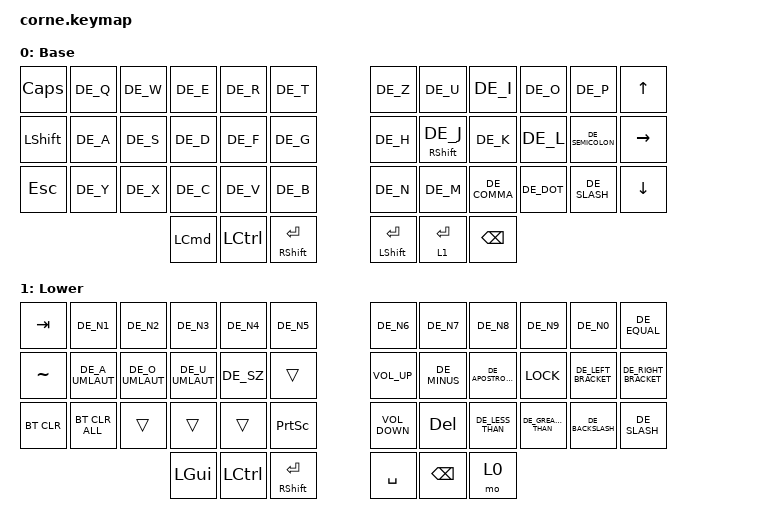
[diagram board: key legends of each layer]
/*
 * Copyright (c) 2020 The ZMK Contributors
 *
 * SPDX-License-Identifier: MIT
 */

#include "keys_de.h"
#include <behaviors.dtsi>
#include <dt-bindings/zmk/bt.h>
#include <dt-bindings/zmk/keys.h>

/ {
    keymap {
        compatible = "zmk,keymap";

        default_layer {
            // -----------------------------------------------------------------------------------------
            // |  TAB |  Q  |  W  |  E  |  R  |  T  |   |  Z  |  U   |  I  |  O  |  P  | BKSP |
            // | CTRL |  A  |  S  |  D  |  F  |  G  |   |  H  |  J   |  K  |  L  |  ;  |  '   |
            // | SHFT |  Y  |  X  |  C  |  V  |  B  |   |  N  |  M   |  ,  |  .  |  /  | ESC  |
            //                    | GUI | LWR | SPC |   | ENT | RSE  | ALT |

            display-name = "Base";
            bindings = <
&kp CLCK        &kp DE_Q  &kp DE_W  &kp DE_E          &kp DE_R   &kp DE_T                 &kp DE_Z              &kp DE_U              &kp DE_I       &kp DE_O    &kp DE_P          &kp UP_ARROW
&kp LEFT_SHIFT  &kp DE_A  &kp DE_S  &kp DE_D          &kp DE_F   &kp DE_G                 &kp DE_H              &mt RIGHT_SHIFT DE_J  &kp DE_K       &kp DE_L    &kp DE_SEMICOLON  &kp RIGHT_ARROW
&kp ESC         &kp DE_Y  &kp DE_X  &kp DE_C          &kp DE_V   &kp DE_B                 &kp DE_N              &kp DE_M              &kp DE_COMMA   &kp DE_DOT  &kp DE_SLASH      &kp DOWN_ARROW
                                    &kp LEFT_COMMAND  &kp LCTRL  &mt RIGHT_SHIFT ENTER    &mt LEFT_SHIFT ENTER  &lt 1 ENTER           &kp BACKSPACE
            >;
        };

        Sym_Nav_Layer {
            // -----------------------------------------------------------------------------------------
            // |  TAB |  1  |  2  |  3  |  4  |  5  |   |  6  |  7  |  8  |  9  |  0  | BKSP |
            // | BTCLR| Ä   |  Ö  |  Ü  |  ß  |     |   | Vol+|  -  |  '  | KLock|  [  |  ]  |
            // | SHFT |     |     |     |     | Prt |   | Vol-| Del |  <  |  >  |  \  |  /  |
            //                    | GUI |     | ENT |   | SPC | BSPC| MO0 |

            display-name = "Lower";
            bindings = <
&kp TAB     &kp DE_N1        &kp DE_N2        &kp DE_N3        &kp DE_N4  &kp DE_N5                &kp DE_N6          &kp DE_N7      &kp DE_N8          &kp DE_N9            &kp DE_N0            &kp DE_EQUAL
&kp TILDE   &kp DE_A_UMLAUT  &kp DE_O_UMLAUT  &kp DE_U_UMLAUT  &kp DE_SZ  &trans                   &kp C_VOLUME_UP    &kp DE_MINUS   &kp DE_APOSTROPHE  &kp K_LOCK           &kp DE_LEFT_BRACKET  &kp DE_RIGHT_BRACKET
&bt BT_CLR  &bt BT_CLR_ALL   &trans           &trans           &trans     &kp PRINTSCREEN          &kp C_VOLUME_DOWN  &kp DEL        &kp DE_LESS_THAN   &kp DE_GREATER_THAN  &kp DE_BACKSLASH     &kp DE_SLASH
                                              &kp LGUI         &kp LCTRL  &mt RIGHT_SHIFT ENTER    &kp SPACE          &kp BACKSPACE  &mo 0
            >;

            label = "Sym_Nav";
        };
    };
};
